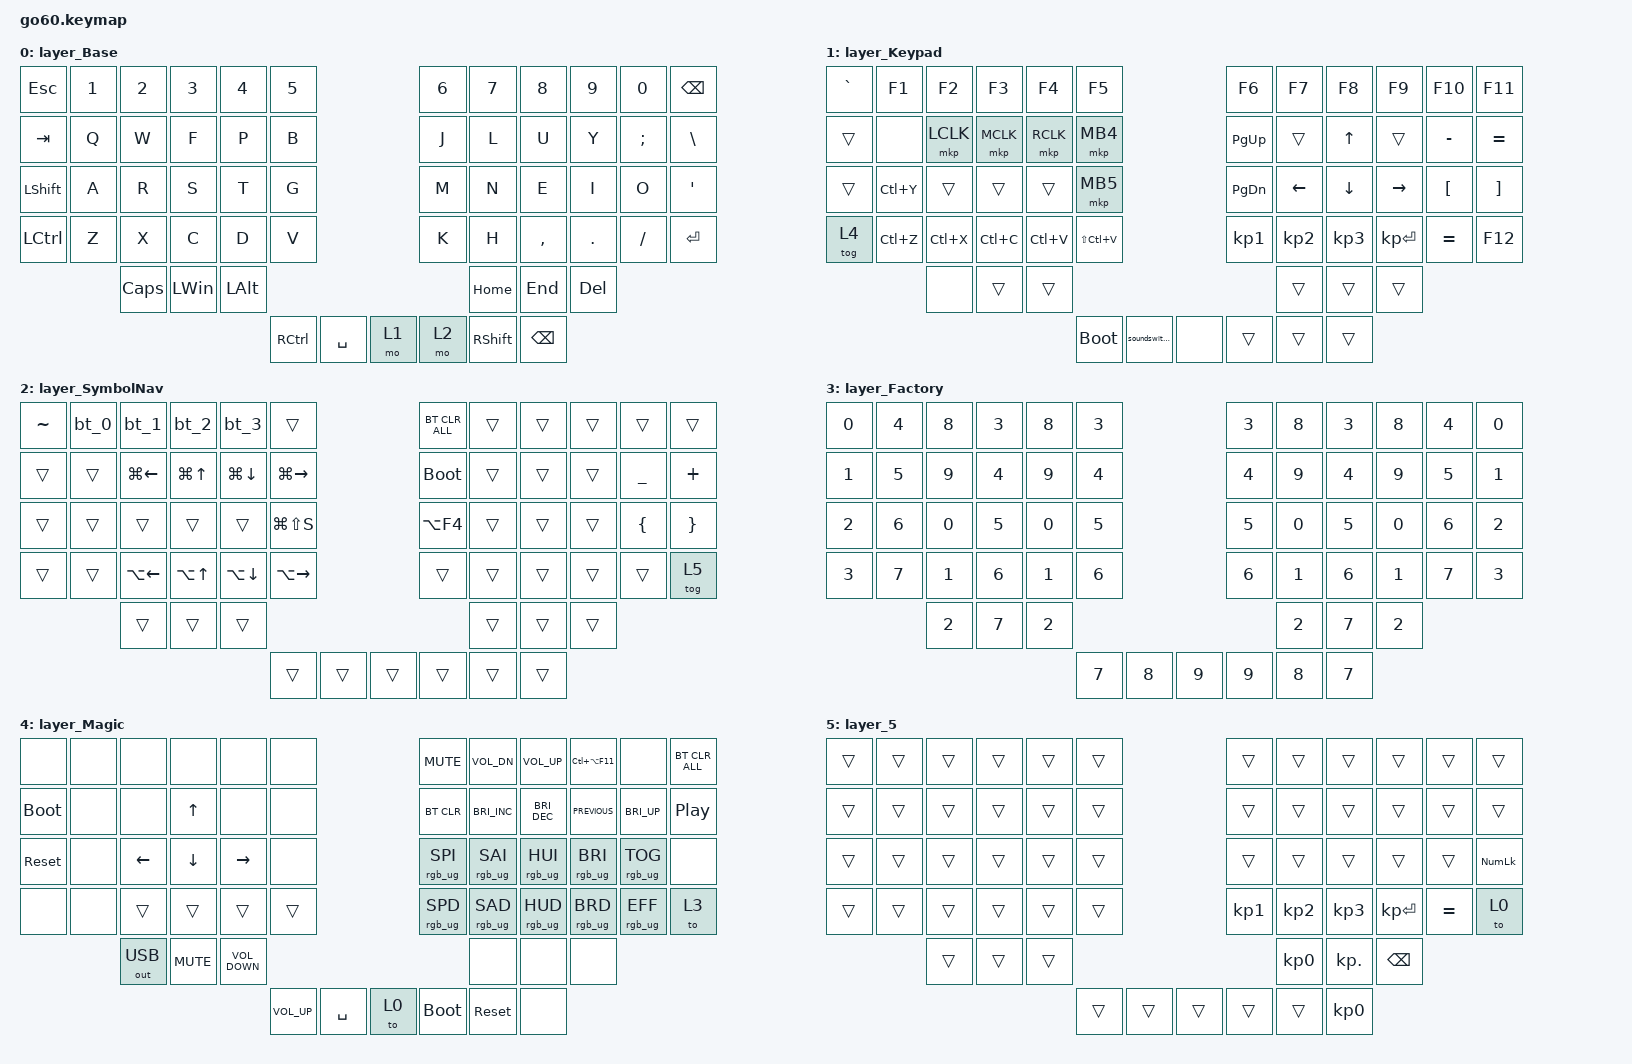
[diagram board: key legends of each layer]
/*
 * Copyright (c) 2020 The ZMK Contributors
 *
 * SPDX-License-Identifier: MIT
 */

#include <dt-bindings/zmk/input_transform.h>
#include <input/processors.dtsi>
#include <zephyr/dt-bindings/input/input-event-codes.h>
#include <behaviors.dtsi>
#include <dt-bindings/zmk/bt.h>
#include <dt-bindings/zmk/keys.h>
#include <dt-bindings/zmk/outputs.h>
#include <dt-bindings/zmk/pointing.h>
#include <dt-bindings/zmk/rgb.h>

// layers

#define LAYER_Base 0
#define LAYER_Keypad 1
#define LAYER_SymbolNav 2
#define LAYER_Magic 3
#define LAYER_Factory 4

/ {
    input_processors {
        zip_click_to_right_click_mapper: zip_click_to_right_click_mapper {
            compatible = "zmk,input-processor-code-mapper";
            #input-processor-cells = <0>;
            type = <INPUT_EV_KEY>;
            map = <INPUT_BTN_0 INPUT_BTN_1>;
        };
    };

    behaviors {
        magic: magic {
            compatible = "zmk,behavior-hold-tap";
            #binding-cells = <2>;
            flavor = "tap-preferred";
            tapping-term-ms = <200>;
            bindings = <&mo>, <&rgb_ug_status_macro>;
        };

        keypad_td: keypad_td {
            compatible = "zmk,behavior-tap-dance";
            #binding-cells = <0>;
            tapping-term-ms = <200>;
            bindings = <&mo 1>, <&to 1>;
        };

        symbol_nav_td: symbol_nav_td {
            compatible = "zmk,behavior-tap-dance";
            #binding-cells = <0>;
            tapping-term-ms = <200>;
            bindings = <&mo 2>, <&to 2>;
        };

        bt_0: bt_0 {
            compatible = "zmk,behavior-tap-dance";
            #binding-cells = <0>;
            tapping-term-ms = <200>;
            bindings = <&bt_select_0>, <&bt BT_DISC 0>;
        };

        bt_1: bt_1 {
            compatible = "zmk,behavior-tap-dance";
            #binding-cells = <0>;
            tapping-term-ms = <200>;
            bindings = <&bt_select_1>, <&bt BT_DISC 1>;
        };

        bt_2: bt_2 {
            compatible = "zmk,behavior-tap-dance";
            #binding-cells = <0>;
            tapping-term-ms = <200>;
            bindings = <&bt_select_2>, <&bt BT_DISC 2>;
        };

        bt_3: bt_3 {
            compatible = "zmk,behavior-tap-dance";
            #binding-cells = <0>;
            tapping-term-ms = <200>;
            bindings = <&bt_select_3>, <&bt BT_DISC 3>;
        };
    };

    macros {
        rgb_ug_status_macro: rgb_ug_status_macro {
            compatible = "zmk,behavior-macro";
            #binding-cells = <0>;
            bindings = <&rgb_ug RGB_STATUS>;
        };

        bt_select_0: bt_select_0 {
            compatible = "zmk,behavior-macro";
            #binding-cells = <0>;
            bindings = <&out OUT_BLE &bt BT_SEL 0>;
        };

        bt_select_1: bt_select_1 {
            compatible = "zmk,behavior-macro";
            #binding-cells = <0>;
            bindings = <&out OUT_BLE &bt BT_SEL 1>;
        };

        bt_select_2: bt_select_2 {
            compatible = "zmk,behavior-macro";
            #binding-cells = <0>;
            bindings = <&out OUT_BLE &bt BT_SEL 2>;
        };

        bt_select_3: bt_select_3 {
            compatible = "zmk,behavior-macro";
            #binding-cells = <0>;
            bindings = <&out OUT_BLE &bt BT_SEL 3>;
        };

        soundswitch: soundswitch {
            compatible = "zmk,behavior-macro";
            #binding-cells = <0>;
            bindings = <&kp LC(LA(F11))>;
            label = "SOUNDSWITCH";
        };
    };

    keymap {
        compatible = "zmk,keymap";

        layer_Base {
            bindings = <
&kp ESC         &kp N1  &kp N2        &kp N3        &kp N4        &kp N5                                                                      &kp N6  &kp N7    &kp N8     &kp N9      &kp N0         &kp BACKSPACE
&kp TAB         &kp Q   &kp W         &kp F         &kp P         &kp B                                                                       &kp J   &kp L     &kp U      &kp Y       &kp SEMICOLON  &kp BSLH
&kp LEFT_SHIFT  &kp A   &kp R         &kp S         &kp T         &kp G                                                                       &kp M   &kp N     &kp E      &kp I       &kp O          &kp SQT
&kp LCTRL       &kp Z   &kp X         &kp C         &kp D         &kp V                                                                       &kp K   &kp H     &kp COMMA  &kp DOT     &kp FSLH       &kp ENTER
                        &kp CAPSLOCK  &kp LEFT_WIN  &kp LEFT_ALT                                                                                      &kp HOME  &kp END    &kp DELETE
                                                                          &kp RCTRL  &kp SPACE  &mo 1  &mo 2  &kp RIGHT_SHIFT  &kp BACKSPACE
            >;
        };

        layer_Keypad {
            bindings = <
&kp GRAVE  &kp F1     &kp F2     &kp F3     &kp F4     &kp F5                                                                   &kp F6         &kp F7     &kp F8     &kp F9        &kp F10           &kp F11
&trans     &none      &mkp LCLK  &mkp MCLK  &mkp RCLK  &mkp MB4                                                                 &kp PAGE_UP    &trans     &kp UP     &trans        &kp MINUS         &kp EQUAL
&trans     &kp LC(Y)  &trans     &trans     &trans     &mkp MB5                                                                 &kp PAGE_DOWN  &kp LEFT   &kp DOWN   &kp RIGHT     &kp LEFT_BRACKET  &kp RIGHT_BRACKET
&tog 4     &kp LC(Z)  &kp LC(X)  &kp LC(C)  &kp LC(V)  &kp LS(LC(V))                                                            &kp KP_N1      &kp KP_N2  &kp KP_N3  &kp KP_ENTER  &kp EQUAL         &kp F12
                      &none      &trans     &trans                                                                                             &trans     &trans     &trans
                                                                      &bootloader  &soundswitch  &none  &trans  &trans  &trans
            >;
        };

        layer_SymbolNav {
            bindings = <
&kp TILDE  &bt_0   &bt_1         &bt_2             &bt_3         &trans                                                         &bt BT_CLR_ALL  &trans  &trans  &trans  &trans          &trans
&trans     &trans  &kp LG(LEFT)  &kp LG(UP_ARROW)  &kp LG(DOWN)  &kp LG(RIGHT)                                                  &bootloader     &trans  &trans  &trans  &kp UNDERSCORE  &kp PLUS
&trans     &trans  &trans        &trans            &trans        &kp LG(LS(S))                                                  &kp LA(F4)      &trans  &trans  &trans  &kp LEFT_BRACE  &kp RIGHT_BRACE
&trans     &trans  &kp LA(LEFT)  &kp LA(UP_ARROW)  &kp LA(DOWN)  &kp LA(RIGHT)                                                  &trans          &trans  &trans  &trans  &trans          &tog 5
                   &trans        &trans            &trans                                                                                       &trans  &trans  &trans
                                                                                &trans  &trans  &trans  &trans  &trans  &trans
            >;
        };

        layer_Factory {
            bindings = <
&kp N0  &kp N4  &kp N8  &kp N3  &kp N8  &kp N3                                                  &kp N3  &kp N8  &kp N3  &kp N8  &kp N4  &kp N0
&kp N1  &kp N5  &kp N9  &kp N4  &kp N9  &kp N4                                                  &kp N4  &kp N9  &kp N4  &kp N9  &kp N5  &kp N1
&kp N2  &kp N6  &kp N0  &kp N5  &kp N0  &kp N5                                                  &kp N5  &kp N0  &kp N5  &kp N0  &kp N6  &kp N2
&kp N3  &kp N7  &kp N1  &kp N6  &kp N1  &kp N6                                                  &kp N6  &kp N1  &kp N6  &kp N1  &kp N7  &kp N3
                &kp N2  &kp N7  &kp N2                                                                  &kp N2  &kp N7  &kp N2
                                                &kp N7  &kp N8  &kp N9  &kp N9  &kp N8  &kp N7
            >;
        };

        layer_Magic {
            bindings = <
&none        &none  &none           &none           &none              &none                                                                      &kp C_MUTE       &kp C_VOL_DN          &kp C_VOL_UP          &kp LC(LA(F11))  &none            &bt BT_CLR_ALL
&bootloader  &none  &none           &kp UP_ARROW    &none              &none                                                                      &bt BT_CLR       &kp C_BRIGHTNESS_INC  &kp C_BRIGHTNESS_DEC  &kp C_PREVIOUS   &kp C_BRI_UP     &kp C_PP
&sys_reset   &none  &kp LEFT_ARROW  &kp DOWN_ARROW  &kp RIGHT_ARROW    &none                                                                      &rgb_ug RGB_SPI  &rgb_ug RGB_SAI       &rgb_ug RGB_HUI       &rgb_ug RGB_BRI  &rgb_ug RGB_TOG  &none
&none        &none  &trans          &trans          &trans             &trans                                                                     &rgb_ug RGB_SPD  &rgb_ug RGB_SAD       &rgb_ug RGB_HUD       &rgb_ug RGB_BRD  &rgb_ug RGB_EFF  &to 3
                    &out OUT_USB    &kp C_MUTE      &kp C_VOLUME_DOWN                                                                                              &none                 &none                 &none
                                                                               &kp C_VOLUME_UP  &kp SPACE  &to 0  &bootloader  &sys_reset  &none
            >;
        };

        layer_5 {
            bindings = <
&trans  &trans  &trans  &trans  &trans  &trans                                                     &trans     &trans     &trans      &trans         &trans     &trans
&trans  &trans  &trans  &trans  &trans  &trans                                                     &trans     &trans     &trans      &trans         &trans     &trans
&trans  &trans  &trans  &trans  &trans  &trans                                                     &trans     &trans     &trans      &trans         &trans     &kp KP_NUMLOCK
&trans  &trans  &trans  &trans  &trans  &trans                                                     &kp KP_N1  &kp KP_N2  &kp KP_N3   &kp KP_ENTER   &kp EQUAL  &to 0
                &trans  &trans  &trans                                                                        &kp KP_N0  &kp KP_DOT  &kp BACKSPACE
                                                &trans  &trans  &trans  &trans  &trans  &kp KP_N0
            >;
        };
    };
};

&cirque_rh_listener {
    input-processors = <&zip_xy_scaler 3 1>;

    layer_2 {
        layers = <2>;
        input-processors = <&zip_xy_scaler 9 1>;
    };
};

&cirque_lh_listener {
    input-processors =
        <&zip_xy_to_scroll_mapper>,
        <&zip_xy_scaler 1 8>,
        <&zip_click_to_right_click_mapper>;

    layer_4 {
        layers = <4>;
        input-processors = <&zip_xy_scaler 3 1>;
    };
};
